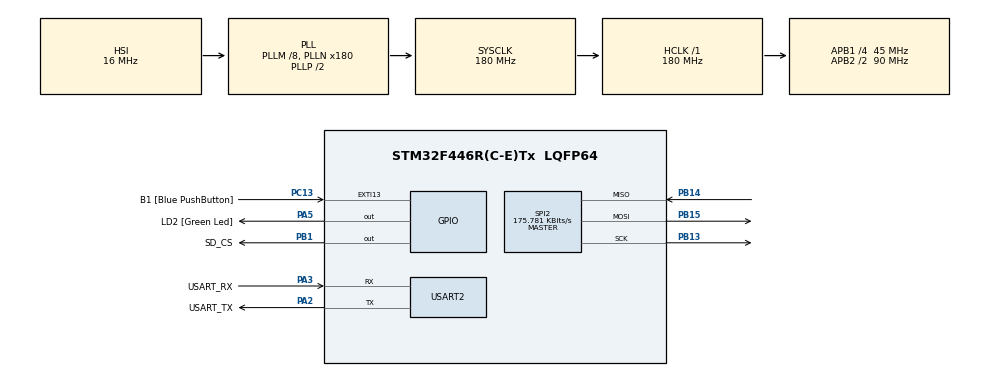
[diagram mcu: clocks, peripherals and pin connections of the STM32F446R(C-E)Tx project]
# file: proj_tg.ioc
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FATFS._FS_TIMEOUT=10000
FATFS._FS_TINY=0
Mcu.Family=STM32F4
Mcu.Name=STM32F446R(C-E)Tx
Mcu.Package=LQFP64
NVIC.PriorityGroup=NVIC_PRIORITYGROUP_0
PA13.GPIO_Label=TMS
PA13.Mode=Serial_Wire
PA13.Signal=SYS_JTMS-SWDIO
PA14.GPIO_Label=TCK
PA14.Mode=Serial_Wire
PA14.Signal=SYS_JTCK-SWCLK
PA2.GPIO_Label=USART_TX
PA2.Mode=Asynchronous
PA2.Signal=USART2_TX
PA3.GPIO_Label=USART_RX
PA3.Mode=Asynchronous
PA3.Signal=USART2_RX
PA5.GPIO_Label=LD2 [Green Led]
PA5.Signal=GPIO_Output
PB1.GPIO_Label=SD_CS
PB1.GPIO_PuPd=GPIO_PULLUP
PB1.GPIO_Speed=GPIO_SPEED_FREQ_HIGH
PB1.PinState=GPIO_PIN_SET
PB1.Signal=GPIO_Output
PB13.GPIO_PuPd=GPIO_PULLDOWN
PB13.Mode=Full_Duplex_Master
PB13.Signal=SPI2_SCK
PB14.GPIO_PuPd=GPIO_PULLDOWN
PB14.Mode=Full_Duplex_Master
PB14.Signal=SPI2_MISO
PB15.GPIO_PuPd=GPIO_PULLDOWN
PB15.Mode=Full_Duplex_Master
PB15.Signal=SPI2_MOSI
PB3.GPIO_Label=SWO
PB3.Signal=SYS_JTDO-SWO
PC13.GPIO_Label=B1 [Blue PushButton]
PC13.GPIO_ModeDefaultEXTI=GPIO_MODE_IT_FALLING
PC13.GPIO_PuPd=GPIO_NOPULL
PC13.Signal=GPXTI13
PC14-OSC32_IN.Mode=LSE-External-Oscillator
PC14-OSC32_IN.Signal=RCC_OSC32_IN
PC15-OSC32_OUT.Mode=LSE-External-Oscillator
PC15-OSC32_OUT.Signal=RCC_OSC32_OUT
PH0-OSC_IN.Mode=HSE-External-Oscillator
PH0-OSC_IN.Signal=RCC_OSC_IN
PH1-OSC_OUT.Mode=HSE-External-Oscillator
PH1-OSC_OUT.Signal=RCC_OSC_OUT
ProjectManager.HeapSize=0x800
ProjectManager.StackSize=0x800
ProjectManager.TargetToolchain=STM32CubeIDE
RCC.48MHZClocksFreq_Value=84000000
RCC.AHBFreq_Value=180000000
RCC.APB1CLKDivider=RCC_HCLK_DIV4
RCC.APB1Freq_Value=45000000
RCC.APB1TimFreq_Value=90000000
RCC.APB2CLKDivider=RCC_HCLK_DIV2
RCC.APB2Freq_Value=90000000
RCC.APB2TimFreq_Value=180000000
RCC.CortexFreq_Value=180000000
RCC.FLatency-AdvancedSettings=FLASH_LATENCY_5
RCC.HCLKFreq_Value=180000000
RCC.HSE_VALUE=8000000
RCC.HSI_VALUE=16000000
RCC.PLLM=8
RCC.PLLN=180
RCC.SYSCLKFreq_VALUE=180000000
RCC.SYSCLKSource=RCC_SYSCLKSOURCE_PLLCLK
RCC.USBFreq_Value=180000000
RCC.VCOOutputFreq_Value=360000000
SPI2.BaudRatePrescaler=SPI_BAUDRATEPRESCALER_256
SPI2.CLKPhase=SPI_PHASE_1EDGE
SPI2.CLKPolarity=SPI_POLARITY_LOW
SPI2.CalculateBaudRate=175.781 KBits/s
SPI2.Direction=SPI_DIRECTION_2LINES
SPI2.Mode=SPI_MODE_MASTER
SPI2.VirtualType=VM_MASTER
TIM2.Period=0xffffffff
TIM2.Prescaler=89
USART2.VirtualMode=VM_ASYNC
VP_CRC_VS_CRC.Mode=CRC_Activate
VP_FATFS_VS_Generic.Mode=User_defined
VP_TIM2_VS_ClockSourceINT.Mode=Internal
board=NUCLEO-F446RE

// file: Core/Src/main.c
/* USER CODE BEGIN Header */
/**
 ******************************************************************************
 * @file           : main.c
 * @brief          : Main program body
 ******************************************************************************
 * @attention
 *
 * Copyright (c) 2023 STMicroelectronics.
 * All rights reserved.
 *
 * This software is licensed under terms that can be found in the LICENSE file
 * in the root directory of this software component.
 * If no LICENSE file comes with this software, it is provided AS-IS.
 *
 ******************************************************************************
 */
/*
 * proj_tg ->	Projeto onde eu faco a leitura dos arquivos de audio um cartao
 * 			 	SD para um buffer e depois faco a inferencia com base nos dados
 * 			 	lidos.
 */

/* USER CODE END Header */
#include "main.h"
#include "fatfs.h"

/* USER CODE BEGIN Includes */
#include "arm_math.h"
#include <stdio.h>
#include <string.h>
#include <stdarg.h> //for va_list var arg functions
#include <math.h>
#include "FeatureExtraction.h"
#include "SDCard.h"
#include "StringFormatter.h"
#include "ModelSupportFunctions.h"

/* USER CODE END Includes */

/* USER CODE BEGIN PTD */
typedef struct {
	char chunkID[4];
	uint32_t chunkSize;
	char format[4];
	char subchunk1ID[4];
	uint32_t subchunk1Size;
	uint16_t audioFormat;
	uint16_t numChannels;
	uint32_t sampleRate;
	uint32_t byteRate;
	uint16_t blockAlign;
	uint16_t bitsPerSample;
	char subchunk2ID[4];
	uint32_t subchunk2Size;
} WAVHeader; //

/* USER CODE END PTD */

/* USER CODE BEGIN PD */
/*
 * off_20.wav
 * hth_20.wav
 * f1_20.wav
 * f2_20.wav
 * f3_20.wav
 */

#define AUDIO_FILE_NAME "off_20.wav"
#define CSV_FILE_NAME "dt-t-off.csv"

// #################### CONTROLE DE MEDIÇÃO DE TEMPO ####################
// ## Descomente a linha abaixo para ativar a medição de tempo e a escrita no CSV de tempos.
#define ENABLE_TIME_MEASUREMENT
// ######################################################################

#ifdef ENABLE_TIME_MEASUREMENT
    // --- Medição de tempo ATIVADA ---

    // Define o cabeçalho do CSV para os tempos de processamento
    #define CSV_HEADER "TempoLeituraSD,TempoNormalizacao,TempoJanela,TempoFeatTempo,TempoFFT,TempoFeatFrequencia,TempoInferencia,TempoTotalBatch"

    // Declara as variáveis necessárias para a medição
    #define TIME_VAR_DECLARE() uint32_t startTick, startTime

    // Macro para iniciar a contagem de um bloco de código
    #define TIME_START(timer_var) (timer_var = __HAL_TIM_GET_COUNTER(&htim2))

    // Macro para parar a contagem e salvar o resultado no array deltaTimes
    #define TIME_STOP(index, timer_var) (deltaTimes[index] = __HAL_TIM_GET_COUNTER(&htim2) - timer_var)

    // Macro para formatar e escrever os dados de tempo no cartão SD
    #define REPORT_DATA_TO_SD() do { \
        formatTimeArrayToString(&outputString, deltaTimes); \
        fres = SDCard_WriteLine(&outputFile, outputString); \
    } while(0)

#else
    // --- Medição de tempo DESATIVADA ---

    // Define o cabeçalho do CSV para as features + predição
	//#define CSV_HEADER "RMS,Variance,Skewness,Kurtosis,CrestFactor,ShapeFactor,ImpulseFactor,MarginFactor,Peak1,Peak2,Peak3,PeakLocs1,PeakLocs2,PeakLocs3,Predicted"
    #define CSV_HEADER "RMS,Variance,Skewness,Kurtosis,CrestFactor,ShapeFactor,ImpulseFactor,MarginFactor,Peak1,Peak2,Peak3,PeakLocs1,PeakLocs2,PeakLocs3,Predicted"

    // As macros se expandem para nada, não adicionando código de medição
    #define TIME_VAR_DECLARE()
    #define TIME_START(timer_var)
    #define TIME_STOP(index, timer_var)

    // Macro para formatar e escrever os dados de features no cartão SD
    #define REPORT_DATA_TO_SD() do { \
        formatFeaturesAndResultToString(outputString, &tdFeatures, &fdFeatures, result); \
        fres = SDCard_WriteLine(&outputFile, outputString); \
    } while(0)

#endif

#define INPUT_BUFFER_SIZE 2048
#define HALF_INPUT_BUFFER_SIZE (INPUT_BUFFER_SIZE / 2)
#define SIGNAL_BUFFER_SIZE (INPUT_BUFFER_SIZE * 2)
#define OUTPUT_SIGNAL_SIZE (SIGNAL_BUFFER_SIZE / 2)
#define SAMPLE_RATE_HZ 48000 											//TODO: MUDAR DE ACORDO COM O VALOR REAL MOSTRADO PELO PROJETO
#define OVERLAP_FACTOR 0.75  											// Overlapping de 75%
#define ADVANCE_SIZE (int)(INPUT_BUFFER_SIZE * (1.0f - OVERLAP_FACTOR)) // 25% de avanco
#define NUM_STAGES 4 													// Filtro Ordem 8

#define INT16_TO_FLOAT (1.0f / (32768.0f))
//#define FLOAT_TO_INT16 32768.0f
#define INT12_TO_FLOAT (1.0 / (4096.0f))
#define FLOAT_TO_INT12 4096.0f

// Definir apenas uma dessas opcoes:
#define USE_SD_AUDIO           		// Usar audio do cartao SD
//#define USE_MIC_AUDIO             // Usar microfone (ADC + DMA)

// Verificação para garantir que apenas uma opcao esta ativa
#if defined(USE_SD_AUDIO) && defined(USE_MIC_AUDIO)
	#error "Voce deve definir apenas uma das opcoes: USE_SD_AUDIO ou USE_MIC_AUDIO"
#endif

/* USER CODE END PD */

CRC_HandleTypeDef hcrc;

SPI_HandleTypeDef hspi2;

TIM_HandleTypeDef htim2;

UART_HandleTypeDef huart2;

/* USER CODE BEGIN PV */
// Variaveis comuns
static volatile int16_t inputBuffer[INPUT_BUFFER_SIZE] = { 0 };		// Buffer para armazenar os dados de entrada (ADC ou arquivo .wav)
static float32_t inputSignal[SIGNAL_BUFFER_SIZE] = { 0 };
static float32_t outputSignal[OUTPUT_SIGNAL_SIZE] = { 0 }; 			// Buffer de saída para os resultados da FFT
static float32_t hanningWindow[OUTPUT_SIGNAL_SIZE] = { 0 }; 		// Buffer para a janela de hanning
static float32_t data[INPUT_BUFFER_SIZE] = { 0 }; 					// Buffer de entrada da FFT (necessario porque a FFT afeta o vetor de entrada)
static float32_t dataFiltered[INPUT_BUFFER_SIZE] = { 0 }; 					// Buffer de entrada da FFT (necessario porque a FFT afeta o vetor de entrada)
//static float32_t fir_output_buffer[INPUT_BUFFER_SIZE] = { 0 };
//static volatile uint8_t fftBufferReadyFlag; 						// Variavel que informa se o buffer entrada da FFT esta pronto para processamento
arm_rfft_fast_instance_f32 fftHandler;								// Esturura para FFT real
#ifdef ENABLE_TIME_MEASUREMENT
    uint32_t deltaTimes[8] = { 0 };
#endif
arm_biquad_casd_df1_inst_f32 filterHandler;							// Instância da estrutura do filtro. Ela manterá todas as informações
static float32_t pState[NUM_STAGES * 2] = { 0 }; 					// Buffer de estado do filtro.

const float32_t NORM_FACTOR = 1.0f / 32767.0f;

char outputString[MAX_STRING_LENGTH]; 	// variavel para armazenar a string de saida

#ifdef USE_SD_AUDIO
int16_t volatile audioBuffer[INPUT_BUFFER_SIZE] = { 0 };	// Buffer para armazenar amostras de áudio lidas do arquivo WAV
FATFS FatFs; 												// Estrutura do FatFs
FIL inputFile;     											// Estrtura de um arquivo do FatFs (Arquivo WAV no cartão SD)
FIL outputFile;   											// Estrtura de um arquivo do FatFs (Arquivo csv no cartão SD)
FRESULT fres; 												// Estutura de resultado de uma operacao do FatFs
UINT bytesRead;                     						// Numero de bytes lidos do arquivo
WAVHeader wavHeader;										// Estura de um cabecalho de um arquivo .wav
uint32_t dataSize;											// Variavel para armazenar a quantidade de dados lida do sd card
#endif

#ifdef USE_MIC_AUDIO
	int16_t adcBuffer[INPUT_BUFFER_SIZE];		// Buffer de dados do ADC para capturar audio do microfone
	static volatile uint8_t bufferReadyFlag;	// Variavel que informa se o inputBuffer esta pronto para leitura
	ADC_HandleTypeDef hadc1;					// Estrutura do ADC
	TIM_HandleTypeDef htim2;					// Estrutura do Timer 2 para o DMA
#endif

// Time Domain Features
static TDFeatures tdFeatures = { 0 }; // Estrutura das features relacionadas ao dominio do Tempo

// Frequency Domain Features
static FDFeatures fdFeatures = { 0 }; // Estrutura das features relacionadas ao dominio da Frequencia

// Coeficientes do Filtro Passa-Faixa Butter de 4 estagios (Ordem 8)
// Fs=48000Hz, Fc=[20.0Hz, 20000.0Hz]
static const float32_t pCoeffs[NUM_STAGES * 5] = {
    0.49803642f,    0.99607284f,    0.49803642f,    -1.18440148f,    -0.36786567f,
    1.00000000f,    2.00000000f,    1.00000000f,    -1.45394167f,    -0.67891696f,
    1.00000000f,    -2.00000000f,    1.00000000f,    +1.99516502f,    -0.99517187f,
    1.00000000f,    -2.00000000f,    1.00000000f,    +1.99799243f,    -0.99799927f,
};

/* USER CODE END PV */

void SystemClock_Config(void);
static void MX_GPIO_Init(void);
static void MX_USART2_UART_Init(void);
static void MX_SPI2_Init(void);
static void MX_TIM2_Init(void);
static void MX_CRC_Init(void);
/* USER CODE BEGIN PFP */

// Prototipos relacionados a leitura de arquivos de audio no SDCard
#ifdef USE_SD_AUDIO
FRESULT readWAVHeader(FIL *file, WAVHeader *header);
FRESULT readWAVData(FIL *file, void *buffer, size_t numSamplesToRead,
		size_t *numBytesRead);
void printWAVHeader(const WAVHeader *header);
FRESULT readAllWavFile(FIL *file, WAVHeader *header);
#endif

// Pre-processamento
void createHanningWindow(float32_t *window, int size);

// Funcoes de suporte
void myprintf(const char *fmt, ...);
void printFeatures(TDFeatures *tdFeat, FDFeatures *fdFeat);

#ifdef USE_MIC_AUDIO
	void HAL_ADC_ConvHalfCpltCallback(ADC_HandleTypeDef *hadc);
	void HAL_ADC_ConvCpltCallback(ADC_HandleTypeDef *hadc);
	static void ADC_Init(void);
	//static void MX_ADC1_Init(void);
	//static void MX_TIM2_Init(void);
#endif

/* USER CODE END PFP */

int main(void)
{

  /* MCU Configuration--------------------------------------------------------*/

  /* Reset of all peripherals, Initializes the Flash interface and the Systick. */
  HAL_Init();

  /* USER CODE BEGIN Init */

	arm_rfft_fast_init_f32(&fftHandler, OUTPUT_SIGNAL_SIZE); // Inicializa Estrutura Handler da FFT
	arm_biquad_cascade_df1_init_f32(&filterHandler, NUM_STAGES, &pCoeffs[0], &pState[0]);
  /* USER CODE END Init */

  /* Configure the system clock */
  SystemClock_Config();

  /* Initialize all configured peripherals */
  MX_GPIO_Init();
  MX_USART2_UART_Init();
  MX_FATFS_Init();
  MX_SPI2_Init();
  MX_TIM2_Init();
  MX_CRC_Init();
  /* USER CODE BEGIN 2 */

	uint32_t sampleRate;
	size_t sampleSize;

#ifdef USE_SD_AUDIO
	MX_FATFS_Init();
	HAL_Delay(5000); 			// Um delay para o cartao SD estabilizar
	SDCard_Init(&FatFs);
	HAL_TIM_Base_Start(&htim2);	// Faz com que o Timer 2 comece a contar
	// Montagem do file system
	fres = SDCard_Mount();
	if (fres != FR_OK) {
		myprintf("[ERRO] Erro no SDCard_Mount. Codigo do erro: (%i)\r\n", fres);

		Error_Handler(); // loop infinito para travar a execucao do programa
	}

	// Tenta abrir o arquivo com o nome defino pela flag AUDIO_FILE_NAME
	fres = SDCard_OpenFile(&inputFile, AUDIO_FILE_NAME, FA_READ);
	if (fres != FR_OK) {
		myprintf("[ERRO] Erro ao abrir arquivo '%s'. Codigo do erro: (%i)\r\n",
		AUDIO_FILE_NAME, fres);

		SDCard_Unmount();

		Error_Handler(); // loop infinito para travar a execucao do programa
	}

	// Tenta criar o arquivo com o nome defino pela flag CSV_FILE_NAME
	fres = SDCard_OpenFile(&outputFile, CSV_FILE_NAME,
			FA_CREATE_ALWAYS | FA_WRITE);
	if (fres != FR_OK) {
		myprintf("[ERRO] Erro ao abrir arquivo '%s'. Codigo do erro: (%i)\r\n",
		CSV_FILE_NAME, fres);

		SDCard_CloseFile(&inputFile);
		SDCard_Unmount();

		Error_Handler(); // loop infinito para travar a execucao do programa
	}

	// Ler o cabeçalho do arquivo WAV
	fres = readWAVHeader(&inputFile, &wavHeader);
	if (fres != FR_OK) {
		// Lidar com erros na leitura do cabeçalho
		myprintf(
				"[ERRO] Erro ao abrir arquivo '.wav'. Codigo do erro: (%i)\r\n",
				fres);

		SDCard_CloseFile(&inputFile);
//		SDCard_CloseFile(&outputFile);
		SDCard_Unmount();

		Error_Handler(); // loop infinito para travar a execucao do programa
	}

	printWAVHeader(&wavHeader);

	// Verificar se é um arquivo WAV válido
	if (strncmp(wavHeader.chunkID, "RIFF", 4) == 0
			&& strncmp(wavHeader.format, "WAVE", 4) == 0) {

		// Acessando os campos do cabeçalho WAV
		sampleRate = wavHeader.sampleRate;
		sampleSize = (size_t) ((wavHeader.bitsPerSample * wavHeader.numChannels)
				/ 8);

		// Agora, leia os dados do arquivo com base nas informações do cabeçalho
		dataSize = wavHeader.subchunk2Size;

		HAL_Delay(1000); 		// Um delay para o cartao SD estabilizar
	} else {
		// Não é um arquivo WAV válido
		// TODO: Adotar lógica de tratamento de erro apropriada
		myprintf("[ERRO] Arquivo de audio '.wav' nao e valido!");
		while (1) {
		} // loop infinito para travar a execucao do programa
	}

#endif

#ifdef USE_MIC_AUDIO
	bufferReadyFlag = 0;

	void ADC_Init(void);

	// Habilida o timer 2
	if(HAL_TIM_PWM_Start(&htim2, TIM_CHANNEL_1) != HAL_OK) {
		Error_Handler();
	}
#endif

  /* USER CODE END 2 */

  /* Infinite loop */
  /* USER CODE BEGIN WHILE */

	myprintf("\r\n~ Projeto TG by Italo ~\r\n\r\n");

	// Criar o vetor da janela Hanning
	createHanningWindow(hanningWindow, OUTPUT_SIGNAL_SIZE); // Cria o vetor com a janela de Hann

	myprintf("\r\n~ Processando dados ~\r\n\r\n");

#ifdef ENABLE_TIME_MEASUREMENT
	uint32_t startTick, startTime;
#endif

	SDCard_WriteLine(&outputFile, CSV_HEADER);

	while (1) {
#ifdef USE_SD_AUDIO

		size_t bytesToRead =
				(dataSize > (INPUT_BUFFER_SIZE * sampleSize)) ?
						(INPUT_BUFFER_SIZE * sampleSize) : dataSize;
//		myprintf("\r\n~ Lendo arquivo do cartao SD ~\r\n\r\n");

		TIME_START(startTick);
		fres = SDCard_Read(&inputFile, inputBuffer, bytesToRead, &bytesRead);
		TIME_STOP(0, startTick); // Mede o tempo que demorou para fazer a leitura do arquivo csv

		TIME_START(startTick);
		TIME_START(startTime); // Inicia a medição do tempo total do batch
		// Ler amostras de audio do arquivo .wav no cartão SD
		if (fres == FR_OK && bytesRead >= (INPUT_BUFFER_SIZE * sampleSize)) {
			// Converter as amostras de 16 bits para float32_t e normalizar
			for (int i = 0; i < INPUT_BUFFER_SIZE; i++) {
				// Copia os dados para segunda metade do inputSignal
//				inputSignal[INPUT_BUFFER_SIZE + i] = (float32_t) inputBuffer[i];
				inputSignal[INPUT_BUFFER_SIZE + i] = (float32_t) inputBuffer[i] * NORM_FACTOR; // Normalizacao de 16 bits para float
			}

			TIME_STOP(1, startTick); //Mede o tempo que demorou para fazer a normalizacao

		} else {
			// Erro de leitura ou fim de arquivo
			//f_lseek(&inputFile, 44); 	// Reinicia o arquivo (ciclo)

			// Fecha os arquivos WAV, CSV e desmontar o sistema de arquivos
			myprintf("\r\n");
			SDCard_CloseFile(&inputFile);
			myprintf("[INFO] Fechando arquivo \"%s\". Codigo do erro: (%i)\r\n",
					AUDIO_FILE_NAME, fres);
			SDCard_CloseFile(&outputFile);
			myprintf("[INFO] Fechando arquivo \"%s\". Codigo do erro: (%i)\r\n",
					CSV_FILE_NAME, fres);
			SDCard_Unmount();
			myprintf("[INFO] Desmontando FatFs. Codigo do erro: (%i)\r\n",
					fres);
			myprintf("\r\n~ Fim do processamento ~\r\n\r\n");
			break;
		}
#endif

#ifdef USE_MIC_AUDIO
		// Capturar dados do microfone via ADC
		sampleRate = SAMPLE_RATE_HZ;

		// Copia os dados para segunda metade do inputSignal
		for (int i = 0; i < INPUT_BUFFER_SIZE; i++) {
			inputSignal[INPUT_BUFFER_SIZE + i] = (float32_t) inputBuffer[i];
//			inputSignal[INPUT_BUFFER_SIZE + i] = (float32_t) adcBuffer[i] / 4096.0f; // Normalizaçcao de 12 bits (4096) para float
		}
#endif

		// Processamento dos dados lidos (no buffer) necessário
		// Overlapping de 75% antes do janelamento
		for (int n = (int) (INPUT_BUFFER_SIZE * (1.0f - OVERLAP_FACTOR));
				n <= INPUT_BUFFER_SIZE; n = n + ADVANCE_SIZE) {

			// Copia dados do input buffer para array que vai ser utilizado para processamento
			arm_copy_f32(&inputSignal[n], &data[0], OUTPUT_SIGNAL_SIZE);
//			arm_copy_f32(&inputSignal[n], &fir_output_buffer[0], OUTPUT_SIGNAL_SIZE);

			/*---------------------------------------------------------------------------*/
			/* Pre-processamento --------------------------------------------------------*/
			/*---------------------------------------------------------------------------*/

			TIME_START(startTick);
			// Aplica o filtro ao sinal de entrada
//			arm_fir_f32(&firHandler, &fir_output_buffer[0], &data[0], OUTPUT_SIGNAL_SIZE);
			arm_biquad_cascade_df1_f32(&filterHandler, &data[0], &dataFiltered[0],  OUTPUT_SIGNAL_SIZE);

			// Aplica a janela de hanning no buffer de entrada da fft
			arm_mult_f32(&dataFiltered[0], hanningWindow, &dataFiltered[0],	OUTPUT_SIGNAL_SIZE);

			TIME_STOP(2, startTick);  // mede o tempo gasto para fazer filtragem e janelamento

			/*---------------------------------------------------------------------------*/
			/* Extracao das Features no Dominio do Tempo --------------------------------*/
			/*---------------------------------------------------------------------------*/

			//			myprintf("\r\n~ Extracao das Features no Dominio do Tempo ~\r\n\r\n");
			TIME_START(startTick);
			extractTimeDomainFeatures(&tdFeatures, &dataFiltered[0], INPUT_BUFFER_SIZE);
			TIME_STOP(3, startTick); // Mede o tempo para extrair as
								     // features no dominio do Tempo

			/*---------------------------------------------------------------------------*/
			/* Extracao das Features no Dominio da Frequencia ---------------------------*/
			/*---------------------------------------------------------------------------*/

			//			myprintf("\r\n~ Extracao das Features no Dominio da Frequencia ~\r\n\r\n");
			// Calcula fft usando a biblioteca da ARM
			TIME_START(startTick);
			arm_rfft_fast_f32(&fftHandler, &dataFiltered[0], &outputSignal[0], 0); // o ultimo argumento significa que nao queremos calcular a fft inversa
			TIME_STOP(4, startTick); // Mede o tempo para calcular a fft

			TIME_START(startTick);
			extractFrequencyDomainFeatures(&fdFeatures, outputSignal, OUTPUT_SIGNAL_SIZE, sampleRate);
			TIME_STOP(5, startTick); 	// Mede o tempo para extrair as
										// features do dominio da Frequencia

			// [DEBUG]
//			printFeatures(&tdFeatures, &fdFeatures);

			/*---------------------------------------------------------------------------*/
			/* Faz Inferencia -----------------------------------------------------------*/
			/*---------------------------------------------------------------------------*/

			//			myprintf("\r\n~ Faz Inferencia ~\r\n\r\n");
			TIME_START(startTick);
			int32_t result = run_inference(&tdFeatures, &fdFeatures);
			TIME_STOP(6, startTick); 	// Mede o tempo que e gasto para
										// fazer a inferencia

			/*---------------------------------------------------------------------------*/
			/* Escreve no Cartao SD -----------------------------------------------------*/
			/*---------------------------------------------------------------------------*/
//
//			formatFeaturestoString(&outputString, &tdFeatures, &fdFeatures);
//			formatFeaturesAndResultToString(outputString, &tdFeatures, &fdFeatures, result);
//			formatTimeArrayToString(&outputString, deltaTimes);
//			fres = SDCard_WriteLine(&outputFile, outputString);
#ifndef	ENABLE_TIME_MEASUREMENT
			REPORT_DATA_TO_SD();

			if (fres != FR_OK) {
				myprintf(
						"[ERRO] Erro ao escrever linha no arquivo '%s'. Codigo do erro: (%i)\r\n",
						CSV_FILE_NAME, fres);
				SDCard_CloseFile(&outputFile);
				SDCard_CloseFile(&inputFile);
				SDCard_Unmount();
				Error_Handler();
			}

//			myprintf("Inference result: %d\r\n", result);
#endif
//			myprintf("."); // minha barra de progresso ?!
			HAL_Delay(50);
		}

		// Atualiza a primeira metade do inputSignal para proxima janela de dados
		arm_copy_f32(&inputSignal[INPUT_BUFFER_SIZE], &inputSignal[0],
		OUTPUT_SIGNAL_SIZE);
		TIME_STOP(7, startTime); 	// Mede o tempo total gasto pra
								    // processar as janelas
#ifdef ENABLE_TIME_MEASUREMENT
		REPORT_DATA_TO_SD();

		if (fres != FR_OK) {
			myprintf(
					"[ERRO] Erro ao escrever linha no arquivo '%s'. Codigo do erro: (%i)\r\n",
					CSV_FILE_NAME, fres);
			SDCard_CloseFile(&outputFile);
			SDCard_CloseFile(&inputFile);
			SDCard_Unmount();
			Error_Handler();
		}
#endif
		myprintf("."); // minha barra de progresso ?!
		HAL_Delay(50);
#ifdef USE_MIC_AUDIO
		bufferReadyFlag = 0;
#endif
    /* USER CODE END WHILE */

    /* USER CODE BEGIN 3 */
	}

	myprintf("\r\n~ Fim ~\r\n\r\n");
	while (1) {
		HAL_GPIO_TogglePin(LD2_GPIO_Port, LD2_Pin);
		HAL_Delay(1000);
	}
  /* USER CODE END 3 */
}

void SystemClock_Config(void)
{
  RCC_OscInitTypeDef RCC_OscInitStruct = {0};
  RCC_ClkInitTypeDef RCC_ClkInitStruct = {0};

  /** Configure the main internal regulator output voltage
  */
  __HAL_RCC_PWR_CLK_ENABLE();
  __HAL_PWR_VOLTAGESCALING_CONFIG(PWR_REGULATOR_VOLTAGE_SCALE1);

  /** Initializes the RCC Oscillators according to the specified parameters
  * in the RCC_OscInitTypeDef structure.
  */
  RCC_OscInitStruct.OscillatorType = RCC_OSCILLATORTYPE_HSI;
  RCC_OscInitStruct.HSIState = RCC_HSI_ON;
  RCC_OscInitStruct.HSICalibrationValue = RCC_HSICALIBRATION_DEFAULT;
  RCC_OscInitStruct.PLL.PLLState = RCC_PLL_ON;
  RCC_OscInitStruct.PLL.PLLSource = RCC_PLLSOURCE_HSI;
  RCC_OscInitStruct.PLL.PLLM = 8;
  RCC_OscInitStruct.PLL.PLLN = 180;
  RCC_OscInitStruct.PLL.PLLP = RCC_PLLP_DIV2;
  RCC_OscInitStruct.PLL.PLLQ = 2;
  RCC_OscInitStruct.PLL.PLLR = 2;
  if (HAL_RCC_OscConfig(&RCC_OscInitStruct) != HAL_OK)
  {
    Error_Handler();
  }

  /** Activate the Over-Drive mode
  */
  if (HAL_PWREx_EnableOverDrive() != HAL_OK)
  {
    Error_Handler();
  }

  /** Initializes the CPU, AHB and APB buses clocks
  */
  RCC_ClkInitStruct.ClockType = RCC_CLOCKTYPE_HCLK|RCC_CLOCKTYPE_SYSCLK
                              |RCC_CLOCKTYPE_PCLK1|RCC_CLOCKTYPE_PCLK2;
  RCC_ClkInitStruct.SYSCLKSource = RCC_SYSCLKSOURCE_PLLCLK;
  RCC_ClkInitStruct.AHBCLKDivider = RCC_SYSCLK_DIV1;
  RCC_ClkInitStruct.APB1CLKDivider = RCC_HCLK_DIV4;
  RCC_ClkInitStruct.APB2CLKDivider = RCC_HCLK_DIV2;

  if (HAL_RCC_ClockConfig(&RCC_ClkInitStruct, FLASH_LATENCY_5) != HAL_OK)
  {
    Error_Handler();
  }
}

static void MX_CRC_Init(void)
{

  hcrc.Instance = CRC;
  if (HAL_CRC_Init(&hcrc) != HAL_OK)
  {
    Error_Handler();
  }

}

static void MX_SPI2_Init(void)
{

  /* SPI2 parameter configuration*/
  hspi2.Instance = SPI2;
  hspi2.Init.Mode = SPI_MODE_MASTER;
  hspi2.Init.Direction = SPI_DIRECTION_2LINES;
  hspi2.Init.DataSize = SPI_DATASIZE_8BIT;
  hspi2.Init.CLKPolarity = SPI_POLARITY_LOW;
  hspi2.Init.CLKPhase = SPI_PHASE_1EDGE;
  hspi2.Init.NSS = SPI_NSS_SOFT;
  hspi2.Init.BaudRatePrescaler = SPI_BAUDRATEPRESCALER_256;
  hspi2.Init.FirstBit = SPI_FIRSTBIT_MSB;
  hspi2.Init.TIMode = SPI_TIMODE_DISABLE;
  hspi2.Init.CRCCalculation = SPI_CRCCALCULATION_DISABLE;
  hspi2.Init.CRCPolynomial = 10;
  if (HAL_SPI_Init(&hspi2) != HAL_OK)
  {
    Error_Handler();
  }

}

static void MX_TIM2_Init(void)
{

  TIM_ClockConfigTypeDef sClockSourceConfig = {0};
  TIM_MasterConfigTypeDef sMasterConfig = {0};

  htim2.Instance = TIM2;
  htim2.Init.Prescaler = 89;
  htim2.Init.CounterMode = TIM_COUNTERMODE_UP;
  htim2.Init.Period = 0xffffffff;
  htim2.Init.ClockDivision = TIM_CLOCKDIVISION_DIV1;
  htim2.Init.AutoReloadPreload = TIM_AUTORELOAD_PRELOAD_DISABLE;
  if (HAL_TIM_Base_Init(&htim2) != HAL_OK)
  {
    Error_Handler();
  }
  sClockSourceConfig.ClockSource = TIM_CLOCKSOURCE_INTERNAL;
  if (HAL_TIM_ConfigClockSource(&htim2, &sClockSourceConfig) != HAL_OK)
  {
    Error_Handler();
  }
  sMasterConfig.MasterOutputTrigger = TIM_TRGO_RESET;
  sMasterConfig.MasterSlaveMode = TIM_MASTERSLAVEMODE_DISABLE;
  if (HAL_TIMEx_MasterConfigSynchronization(&htim2, &sMasterConfig) != HAL_OK)
  {
    Error_Handler();
  }

}

static void MX_USART2_UART_Init(void)
{

  huart2.Instance = USART2;
  huart2.Init.BaudRate = 115200;
  huart2.Init.WordLength = UART_WORDLENGTH_8B;
  huart2.Init.StopBits = UART_STOPBITS_1;
  huart2.Init.Parity = UART_PARITY_NONE;
  huart2.Init.Mode = UART_MODE_TX_RX;
  huart2.Init.HwFlowCtl = UART_HWCONTROL_NONE;
  huart2.Init.OverSampling = UART_OVERSAMPLING_16;
  if (HAL_UART_Init(&huart2) != HAL_OK)
  {
    Error_Handler();
  }

}

static void MX_GPIO_Init(void)
{
  GPIO_InitTypeDef GPIO_InitStruct = {0};

  /* GPIO Ports Clock Enable */
  __HAL_RCC_GPIOC_CLK_ENABLE();
  __HAL_RCC_GPIOH_CLK_ENABLE();
  __HAL_RCC_GPIOA_CLK_ENABLE();
  __HAL_RCC_GPIOB_CLK_ENABLE();

  /*Configure GPIO pin Output Level */
  HAL_GPIO_WritePin(LD2_GPIO_Port, LD2_Pin, GPIO_PIN_RESET);

  /*Configure GPIO pin Output Level */
  HAL_GPIO_WritePin(SD_CS_GPIO_Port, SD_CS_Pin, GPIO_PIN_SET);

  /*Configure GPIO pin : B1_Pin */
  GPIO_InitStruct.Pin = B1_Pin;
  GPIO_InitStruct.Mode = GPIO_MODE_IT_FALLING;
  GPIO_InitStruct.Pull = GPIO_NOPULL;
  HAL_GPIO_Init(B1_GPIO_Port, &GPIO_InitStruct);

  /*Configure GPIO pin : LD2_Pin */
  GPIO_InitStruct.Pin = LD2_Pin;
  GPIO_InitStruct.Mode = GPIO_MODE_OUTPUT_PP;
  GPIO_InitStruct.Pull = GPIO_NOPULL;
  GPIO_InitStruct.Speed = GPIO_SPEED_FREQ_LOW;
  HAL_GPIO_Init(LD2_GPIO_Port, &GPIO_InitStruct);

  /*Configure GPIO pin : SD_CS_Pin */
  GPIO_InitStruct.Pin = SD_CS_Pin;
  GPIO_InitStruct.Mode = GPIO_MODE_OUTPUT_PP;
  GPIO_InitStruct.Pull = GPIO_PULLUP;
  GPIO_InitStruct.Speed = GPIO_SPEED_FREQ_HIGH;
  HAL_GPIO_Init(SD_CS_GPIO_Port, &GPIO_InitStruct);

}

/* USER CODE BEGIN 4 */
void createHanningWindow(float32_t *window, int size) {
	for (int n = 0; n < size; n++) {
		window[n] = 0.5 - (0.5 * cos(2.0 * M_PI * n / (size - 1)));
	}
}

void myprintf(const char *fmt, ...) {
	static char buffer[256];
	va_list args;
	va_start(args, fmt);
	vsnprintf(buffer, sizeof(buffer), fmt, args);
	va_end(args);

	int len = strlen(buffer);
	HAL_UART_Transmit(&huart2, (uint8_t*) buffer, len, -1);

}

void printFeatures(TDFeatures *tdFeat, FDFeatures *fdFeat) {
//	RMS,~~Mean~~,~~Median~~,Variance,Skewness,Kurtosis,CrestFactor,ShapeFactor,ImpulseFactor,MarginFactor,Peak1,Peak2,Peak3,PeakLocs1,PeakLocs2,PeakLocs3,~~FalutID~~
//	RMS,Variance,Skewness,Kurtosis,CrestFactor,ShapeFactor,ImpulseFactor,MarginFactor,Peak1,Peak2,Peak3,PeakLocs1,PeakLocs2,PeakLocs3
	myprintf("%G,%G,%G,%G,%G,%G,%G,%G,%G,%G,%G,%G,%G,%G\r\n", tdFeat->RMS,
			tdFeat->VarianceVal, tdFeat->SigSkewnessVal, tdFeat->SigKurtosisVal,
			tdFeat->SigCrestFactor, tdFeat->SigShapeFactor,
			tdFeat->SigImpulseFactor, tdFeat->SigMarginFactor, fdFeat->PeakAmp1,
			fdFeat->PeakAmp2, fdFeat->PeakAmp3, fdFeat->PeakLocs1,
			fdFeat->PeakLocs2, fdFeat->PeakLocs3);
}

FRESULT readWAVHeader(FIL *file, WAVHeader *header) {
	FRESULT res;

	// Ler o cabeçalho do arquivo WAV
	UINT bytesRead;
	res = f_read(file, header, sizeof(WAVHeader), &bytesRead);

	if (res != FR_OK || bytesRead != sizeof(WAVHeader)) {
		// Lidar com erro na leitura do cabeçalho
		return res;
	}

	// Verificar se é um arquivo WAV
	if (strncmp(header->chunkID, "RIFF", 4) != 0
			|| strncmp(header->format, "WAVE", 4) != 0) {
		// Lidar com erro - não é um arquivo WAV válido
		return FR_NOT_ENABLED;
	}

	// Outras verificações e manipulações podem ser adicionadas conforme necessário

	return FR_OK;
}

FRESULT readWAVData(FIL *file, void *buffer, size_t numSamplesToRead,
		size_t *numBytesRead) {
	// TODO: Consertar funcao para receber o cabecalho do arquivo .wav e calcular
	//       a quantidade de bytes a serem lidos conforme a quantidade de samples
	//	     que serao lidas
	// Ler dados do arquivo WAV
	size_t bytesToRead;

	return SDCard_Read(&inputFile, inputBuffer, bytesToRead, numBytesRead);
}

FRESULT readAllWavFile(FIL *file, WAVHeader *header) {
//	int buffer[1024];
//	for (int i = 0, i<= header.)
	return 0;
}

void printWAVHeader(const WAVHeader *header) {
	myprintf("chunkID: %.4s \r\n", header->chunkID);
	myprintf("chunkSize: %u \r\n", header->chunkSize);
	myprintf("format: %.4s \r\n", header->format);
	myprintf("subchunk1ID: %.4s \r\n", header->subchunk1ID);
	myprintf("subchunk1Size: %u \r\n", header->subchunk1Size);
	myprintf("audioFormat: %u \r\n", header->audioFormat);
	myprintf("numChannels: %u \r\n", header->numChannels);
	myprintf("sampleRate: %u \r\n", header->sampleRate);
	myprintf("byteRate: %u \r\n", header->byteRate);
	myprintf("blockAlign: %u \r\n", header->blockAlign);
	myprintf("bitsPerSample: %u \r\n", header->bitsPerSample);
	myprintf("subchunk2ID: %.4s \r\n", header->subchunk2ID);
	myprintf("subchunk2Size: %u \r\n", header->subchunk2Size);
}

//void HAL_ADC_ConvHalfCpltCallback(ADC_HandleTypeDef *hadc) {
//
////	arm_copy_f32(&adcBuffer[0], &inputBuffer[HALF_INPUT_BUFFER_SIZE], OUTPUT_SIGNAL_SIZE);
//	for (int i = 0; i < OUTPUT_SIGNAL_SIZE; i++) {
//		inputBuffer[HALF_INPUT_BUFFER_SIZE + i] = (float32_t) adcBuffer[i];
////		inputBuffer[HALF_INPUT_BUFFER_SIZE+i] = adcBuffer[i] * INT16_TO_FLOAT;
////		inputBuffer[HALF_INPUT_BUFFER_SIZE+i] = (float32_t) adcBuffer[i] * INT_TO_FLOAT;
//
//	}
////habilita flag indica que o buffer esta pronto para processamento
//	bufferReadyFlag = 1;
//
//	HAL_GPIO_TogglePin(D7_GPIO_Port, D7_Pin);
////	HAL_UART_Transmit(&huart2, (uint8_t*)"HALF\r\n", 6, HAL_MAX_DELAY);
//}
//
//void HAL_ADC_ConvCpltCallback(ADC_HandleTypeDef *hadc) {
//
////	arm_copy_f32(&adcBuffer[HALF_INPUT_BUFFER_SIZE], &inputBuffer[HALF_INPUT_BUFFER_SIZE], OUTPUT_SIGNAL_SIZE);
//	for (int i = 0; i < OUTPUT_SIGNAL_SIZE; i++) {
//		inputBuffer[HALF_INPUT_BUFFER_SIZE + i] =
//				(float32_t) adcBuffer[HALF_INPUT_BUFFER_SIZE + i];
////		inputBuffer[HALF_INPUT_BUFFER_SIZE+i] = adcBuffer[HALF_INPUT_BUFFER_SIZE+i] * INT16_TO_FLOAT;
////		inputBuffer[HALF_INPUT_BUFFER_SIZE+i] = (float32_t) adcBuffer[HALF_INPUT_BUFFER_SIZE+i] * INT_TO_FLOAT;
//	}
////habilita flag indica que o buffer esta pronto para processamento
//	bufferReadyFlag = 1;
//
//	HAL_GPIO_TogglePin(D7_GPIO_Port, D7_Pin);
////	HAL_UART_Transmit(&huart2, (uint8_t*)"FULL\r\n", 6, HAL_MAX_DELAY);
//}

/* USER CODE END 4 */

void Error_Handler(void)
{
	__disable_irq();
	while (1) {
	}
}
